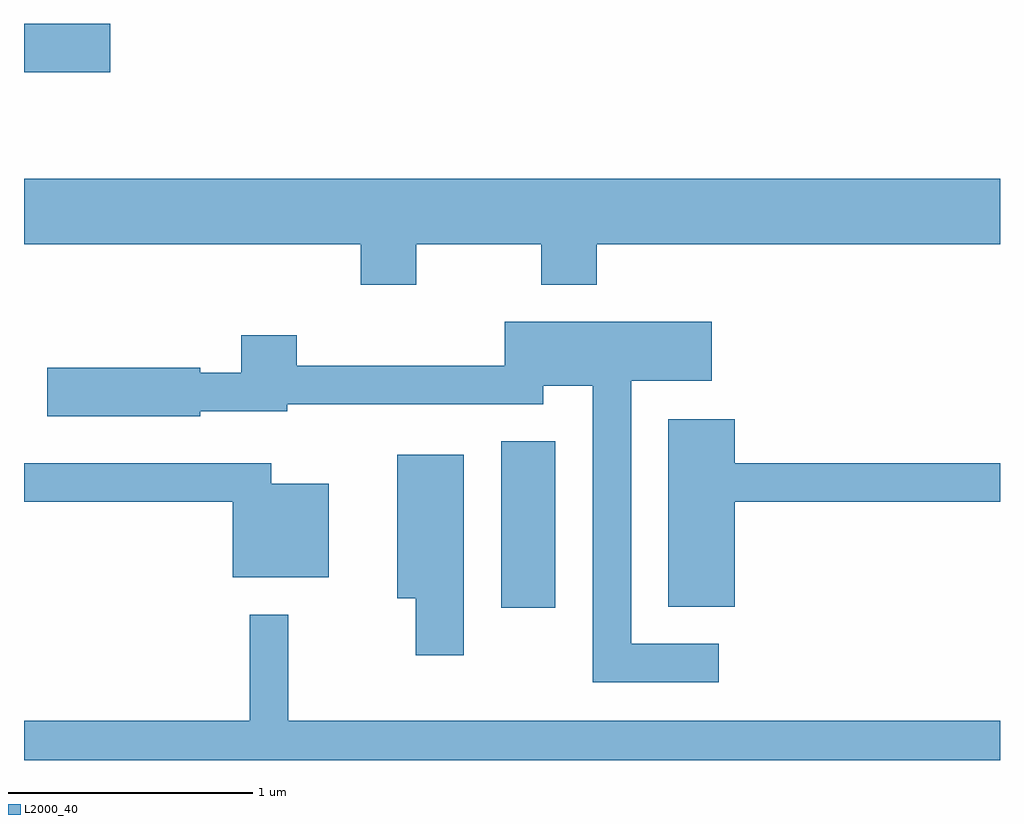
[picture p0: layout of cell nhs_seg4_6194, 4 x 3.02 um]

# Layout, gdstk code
import gdstk
lib = gdstk.Library(unit=1e-6, precision=1e-09)
def R(c, l, rs):  # rectangles x0, y0, x1, y1
    for r in rs: c.add(gdstk.rectangle(r[:2], r[2:], *l))
def P(c, l, *ps):  # polygons
    for p in ps: c.add(gdstk.Polygon(p, *l))
L2000_40 = (2000, 40)

nhs_seg4_6194 = lib.new_cell('nhs_seg4_6194')
R(nhs_seg4_6194, L2000_40, [(369.566,1266.606,369.789,1267.289), (367.611,1268.801,367.964,1268.999)])
P(nhs_seg4_6194, L2000_40, [(369.219,1268.096),(369.731,1268.096),(369.731,1267.931),(369.959,1267.931),(369.959,1268.096),(371.611,1268.096),(371.611,1268.364),(367.611,1268.364),(367.611,1268.096),(368.991,1268.096),(368.991,1267.931),(369.219,1267.931)],
  [(370.458,1266.459),(370.099,1266.459),(370.099,1267.536),(370.429,1267.536),(370.429,1267.779),(369.581,1267.779),(369.581,1267.599),(368.729,1267.599),(368.729,1267.724),(368.501,1267.724),(368.501,1267.569),(368.334,1267.569),(368.334,1267.589),(367.706,1267.589),(367.706,1267.391),(368.334,1267.391),(368.334,1267.411),(368.689,1267.411),(368.689,1267.441),(369.739,1267.441),(369.739,1267.516),(369.941,1267.516),(369.941,1266.301),(370.458,1266.301)],
  [(370.524,1267.041),(371.611,1267.041),(371.611,1267.199),(370.524,1267.199),(370.524,1267.379),(370.251,1267.379),(370.251,1266.611),(370.524,1266.611)],
  [(369.414,1267.234),(369.141,1267.234),(369.141,1266.646),(369.216,1266.646),(369.216,1266.411),(369.414,1266.411)],
  [(368.859,1267.114),(368.624,1267.114),(368.624,1267.199),(367.611,1267.199),(367.611,1267.041),(368.466,1267.041),(368.466,1266.731),(368.859,1266.731)],
  [(371.611,1266.144),(368.694,1266.144),(368.694,1266.578),(368.536,1266.578),(368.536,1266.144),(367.611,1266.144),(367.611,1265.982),(371.611,1265.982)])

lib.write_gds('nhs_seg4_6194.gds')
